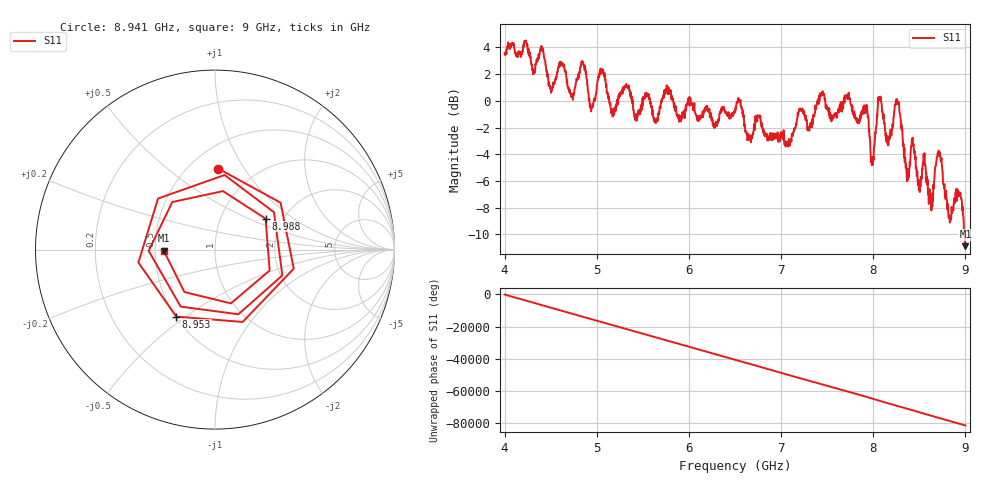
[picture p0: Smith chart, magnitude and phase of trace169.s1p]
! Created with skrf 1.8.0 (http://scikit-rf.org).
# Hz S RI R 50.0
!freq ReS11 ImS11
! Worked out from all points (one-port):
!   1601 points, 4 GHz to 9 GHz, reference 50 ohm
!   lowest |S11| = -10.9 dB at 9 GHz (marker M1), VSWR 1.80, Z = 27.8 - j0.359 ohm
!   |S11| at or under -10 dB: 8.993153 GHz to end of sweep
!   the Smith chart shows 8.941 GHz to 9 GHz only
!   S11 on the Smith chart (normalised r, x): 8.941 GHz: 0.68, +0.77; 8.953 GHz: 0.50, -0.46; 8.988 GHz: 1.63, +0.63; 9 GHz: 0.56, -0.01
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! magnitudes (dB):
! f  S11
! 4 GHz  3.6
! 4.406 GHz  3.8
! 4.5 GHz  1.0
! 4.625 GHz  2.7
! 4.731 GHz  0.4
! 4.853 GHz  2.7
! 4.941 GHz  -0.4
! 5.05 GHz  2.3
! 5.169 GHz  -1.1
! 5.25 GHz  0.3
! 5.875 GHz  -1.2
! 6.5 GHz  -0.7
! 7.125 GHz  -2.6
! 7.75 GHz  0.1
! 7.925 GHz  -0.5
! 7.991 GHz  -4.6
! 8.066 GHz  0.3
! 8.159 GHz  -2.9
! 8.259 GHz  0.1
! 8.375 GHz  -5.9
! 8.434 GHz  -3.3
! 8.625 GHz  -7.2
! 8.716 GHz  -3.8
! 8.822 GHz  -8.8
! 8.941 GHz  -6.9
! 8.953 GHz  -7.3
! 8.988 GHz  -9.6
! 9 GHz  -10.9
